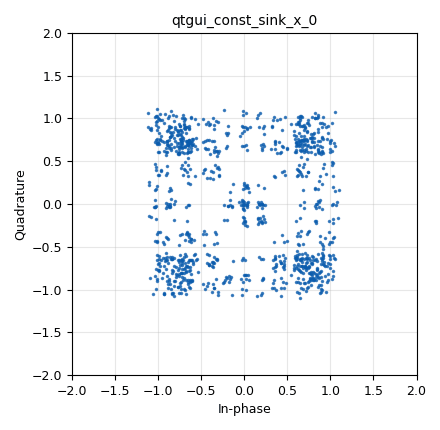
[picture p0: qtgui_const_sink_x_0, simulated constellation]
options:
  parameters:
    author: pranav
    category: Custom
    description: QPSK BER Hardware Transmitter
    generate_options: qt_gui
    id: tx_qpsk_hardware_ber
    output_language: python
    title: QPSK BER Hardware Transmitter
  states: {}

blocks:
- name: Alpha
  id: variable
  parameters:
    value: '0.35'
  states: {}
- name: center_freq
  id: variable
  parameters:
    value: '2850000000'
  states: {}
- name: qpsk_const
  id: variable_constellation
  parameters:
    const_points: '[-1-1j, -1+1j, 1+1j, 1-1j]'
    dims: '1'
    normalization: digital.constellation.AMPLITUDE_NORMALIZATION
    precision: '8'
    rot_sym: '4'
    sym_map: '[0, 1, 3, 2]'
    type: calcdist
  states: {}
- name: samp_rate
  id: variable
  parameters:
    value: '1000000'
  states: {}
- name: sps
  id: variable
  parameters:
    value: '4'
  states: {}
- name: tx_gain
  id: variable
  parameters:
    value: '36'
  states: {}
- name: analog_random_source_x_0
  id: analog_random_source_x
  parameters:
    max: '255'
    min: '0'
    num_samps: '10000'
    repeat: 'True'
    type: byte
  states: {}
- name: digital_constellation_modulator_0
  id: digital_constellation_modulator
  parameters:
    comment: Maps bytes to QPSK, applies RRC
    constellation: qpsk_const
    differential: 'True'
    excess_bw: Alpha
    samples_per_symbol: sps
  states: {}
- name: epy_block_0
  id: epy_block
  parameters:
    _source_code: |
      import numpy as np
      from gnuradio import gr

      class blk(gr.basic_block):
          """BER Frame Generator & Preamble Inserter"""
          def __init__(self, packet_len=1000):
              gr.basic_block.__init__(
                  self,
                  name='BER Frame Generator',
                  in_sig=[np.uint8],
                  out_sig=[np.uint8]
              )
              self.packet_len = packet_len
              # QPSK has 4 symbols (2 bits). Let's use a 32-symbol preamble
              self.preamble = np.array([3, 3, 3, 3, 3, 0, 0, 3, 3, 0, 3, 0, 3, 3, 3, 3, 3, 3, 0, 0, 3, 3, 0, 3, 0, 3, 3, 0, 0, 3, 0, 3], dtype=np.uint8)
              np.random.seed(42)
              self.payload_ref = np.random.randint(0, 4, size=968, dtype=np.uint8)
              self.packet = np.concatenate([self.preamble, self.payload_ref])
              
              # Pack 2-bit symbols into 8-bit bytes (4 symbols per byte)
              self.packed_packet = np.zeros(len(self.packet) // 4, dtype=np.uint8)
              for i in range(len(self.packed_packet)):
                  self.packed_packet[i] = (self.packet[4*i] << 6) | (self.packet[4*i+1] << 4) | (self.packet[4*i+2] << 2) | self.packet[4*i+3]
                  
              self.ptr = 0

          def general_work(self, input_items, output_items):
              in0 = input_items[0]
              out = output_items[0]
              n_out = len(out)
              written = 0
              read = min(len(in0), n_out)
              
              while written < read:
                  rem = len(self.packed_packet) - self.ptr
                  to_write = min(rem, read - written)
                  out[written:written+to_write] = self.packed_packet[self.ptr:self.ptr+to_write]
                  self.ptr = (self.ptr + to_write) % len(self.packed_packet)
                  written += to_write
                  
              self.consume(0, read)
              return written
    packet_len: '1000'
  states: {}
- name: qtgui_const_sink_x_0
  id: qtgui_const_sink_x
  parameters:
    size: '1024'
    type: complex
  states: {}
- name: uhd_usrp_sink_0
  id: uhd_usrp_sink
  parameters:
    ant0: '"TX/RX"'
    center_freq0: uhd.tune_request(center_freq, samp_rate/2)
    gain0: tx_gain
    samp_rate: samp_rate
    sync: pc_clock
    type: fc32
  states: {}

connections:
- [analog_random_source_x_0, '0', epy_block_0, '0']
- [digital_constellation_modulator_0, '0', qtgui_const_sink_x_0, '0']
- [digital_constellation_modulator_0, '0', uhd_usrp_sink_0, '0']
- [epy_block_0, '0', digital_constellation_modulator_0, '0']

metadata:
  file_format: 1
  grc_version: 3.10.12.0
